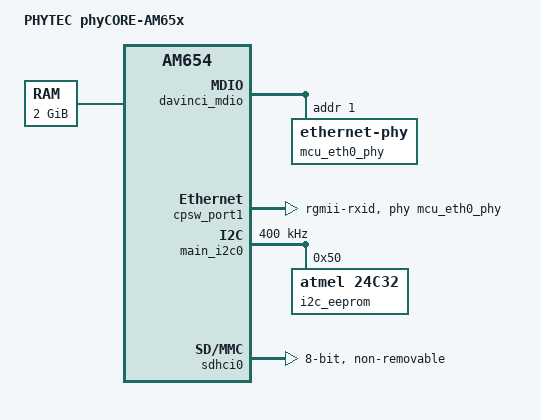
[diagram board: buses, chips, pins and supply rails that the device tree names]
// SPDX-License-Identifier: GPL-2.0
/*
 * Copyright (C) 2018-2020 PHYTEC America, LLC - https://www.phytec.com
 */

#include "../ti/k3-am654.dtsi"
#include <dt-bindings/net/ti-dp83867.h>

/ {
	model = "PHYTEC phyCORE-AM65x";
	compatible =  "phytec,am65xx-phycore-som", "ti,am654";

	memory@80000000 {
		device_type = "memory";
		/* 2G RAM */
		reg = <0x00000000 0x80000000	/* 64-bit start address */
		       0x00000000 0x80000000>;	/* 64-bit size */
	};

	reserved_memory: reserved-memory {
		#address-cells = <2>;
		#size-cells = <2>;
		ranges;

		secure_ddr: secure_ddr@9e800000 {
			reg = <0 0x9e800000 0 0x01800000>; /* for OP-TEE */
			alignment = <0x1000>;
			no-map;
		};

		mcu_r5fss0_core0_dma_memory_region: r5f-dma-memory@a0000000 {
			compatible = "shared-dma-pool";
			reg = <0 0xa0000000 0 0x100000>;
			no-map;
		};

		mcu_r5fss0_core0_memory_region: r5f-memory@a0100000 {
			compatible = "shared-dma-pool";
			reg = <0 0xa0100000 0 0xf00000>;
			no-map;
		};

		mcu_r5fss0_core1_dma_memory_region: r5f-dma-memory@a1000000 {
			compatible = "shared-dma-pool";
			reg = <0 0xa1000000 0 0x100000>;
			no-map;
		};

		mcu_r5fss0_core1_memory_region: r5f-memory@a1100000 {
			compatible = "shared-dma-pool";
			reg = <0 0xa1100000 0 0xf00000>;
			no-map;
		};

		rtos_ipc_memory_region: ipc-memories@a2000000 {
			reg = <0x00 0xa2000000 0x00 0x00200000>;
			alignment = <0x1000>;
			no-map;
		};
	};
};

&mailbox0_cluster0 {
	interrupts = <436>;

	mbox_mcu_r5fss0_core0: mbox-mcu-r5fss0-core0 {
		ti,mbox-tx = <1 0 0>;
		ti,mbox-rx = <0 0 0>;
	};
};

&mailbox0_cluster1 {
	interrupts = <432>;

	mbox_mcu_r5fss0_core1: mbox-mcu-r5fss0-core1 {
		ti,mbox-tx = <1 0 0>;
		ti,mbox-rx = <0 0 0>;
	};
};

&mailbox0_cluster2 {
	status = "disabled";
};

&mailbox0_cluster3 {
	status = "disabled";
};

&mailbox0_cluster4 {
	status = "disabled";
};

&mailbox0_cluster5 {
	status = "disabled";
};

&mailbox0_cluster6 {
	status = "disabled";
};

&mailbox0_cluster7 {
	status = "disabled";
};

&mailbox0_cluster8 {
	status = "disabled";
};

&mailbox0_cluster9 {
	status = "disabled";
};

&mailbox0_cluster10 {
	status = "disabled";
};

&mailbox0_cluster11 {
	status = "disabled";
};

&mcu_r5fss0_core0 {
	memory-region = <&mcu_r5fss0_core0_dma_memory_region>,
			<&mcu_r5fss0_core0_memory_region>;
	mboxes = <&mailbox0_cluster0 &mbox_mcu_r5fss0_core0>;
};

&mcu_r5fss0_core1 {
	memory-region = <&mcu_r5fss0_core1_dma_memory_region>,
			<&mcu_r5fss0_core1_memory_region>;
	mboxes = <&mailbox0_cluster1 &mbox_mcu_r5fss0_core1>;
};

&main_pmx0 {
	main_mmc0_pins_default: main_mmc0_pins_default {
		pinctrl-single,pins = <
			AM65X_IOPAD(0x0188, PIN_INPUT, 0)		/* (D25) MMC0_DAT7 */
			AM65X_IOPAD(0x018c, PIN_INPUT, 0)		/* (B26) MMC0_DAT6 */
			AM65X_IOPAD(0x0190, PIN_INPUT, 0)		/* (A24) MMC0_DAT5 */
			AM65X_IOPAD(0x0194, PIN_INPUT, 0)		/* (E24) MMC0_DAT4 */
			AM65X_IOPAD(0x0198, PIN_INPUT, 0)		/* (A25) MMC0_DAT3 */
			AM65X_IOPAD(0x019c, PIN_INPUT, 0)		/* (C26) MMC0_DAT2 */
			AM65X_IOPAD(0x01a0, PIN_INPUT, 0)		/* (E25) MMC0_DAT1 */
			AM65X_IOPAD(0x01a4, PIN_INPUT, 0)		/* (A26) MMC0_DAT0 */
			AM65X_IOPAD(0x01a8, PIN_INPUT_PULLDOWN, 0)	/* (B25) MMC0_CLK */
			AM65X_IOPAD(0x01ac, PIN_INPUT, 0)		/* (B27) MMC0_CMD */
			AM65X_IOPAD(0x01b0, PIN_INPUT, 0)		/* (C25) MMC0_DS */
		>;
	};

	main_mmc1_pins_default: main_mmc1_pins_default {
		pinctrl-single,pins = <
			AM65X_IOPAD(0x02c4, PIN_INPUT_PULLUP, 0)	/* (D27) MMC1_DAT3 */
			AM65X_IOPAD(0x02c8, PIN_INPUT_PULLUP, 0)	/* (D26) MMC1_DAT2 */
			AM65X_IOPAD(0x02cc, PIN_INPUT_PULLUP, 0)	/* (E27) MMC1_DAT1 */
			AM65X_IOPAD(0x02d0, PIN_INPUT_PULLUP, 0)	/* (D28) MMC1_DAT0 */
			AM65X_IOPAD(0x02d4, PIN_INPUT_PULLDOWN, 0)	/* (C27) MMC1_CLK */
			AM65X_IOPAD(0x02d8, PIN_INPUT_PULLUP, 0)	/* (C28) MMC1_CMD */
			AM65X_IOPAD(0x02dc, PIN_INPUT, 0)		/* (B24) MMC1_SDCD */
		>;
	};
};

&main_pmx1 {
	eeprom_wc_pin: eeprom_wc_pin {
		pinctrl-single,pins = <
			AM65X_IOPAD(0x0018, PIN_OUTPUT_PULLDOWN, 7)	/* (B22) TIMER_IO0.GPIO1_88 */
		>;
	};

	main_i2c0_pins_default: main_i2c0_pins_default {
		pinctrl-single,pins = <
			AM65X_IOPAD(0x0000, PIN_INPUT, 0)	/* (D20) I2C0_SCL */
			AM65X_IOPAD(0x0004, PIN_INPUT, 0)	/* (C21) I2C0_SDA */
		>;
	};
};

&wkup_pmx0 {
	mcu_cpsw_pins_default: mcu_cpsw_pins_default {
		pinctrl-single,pins = <
			AM65X_WKUP_IOPAD(0x0058, PIN_OUTPUT, 0)	/* (N4) MCU_RGMII1_TX_CTL */
			AM65X_WKUP_IOPAD(0x005c, PIN_INPUT, 0)	/* (N5) MCU_RGMII1_RX_CTL */
			AM65X_WKUP_IOPAD(0x0060, PIN_OUTPUT, 0)	/* (M2) MCU_RGMII1_TD3 */
			AM65X_WKUP_IOPAD(0x0064, PIN_OUTPUT, 0)	/* (M3) MCU_RGMII1_TD2 */
			AM65X_WKUP_IOPAD(0x0068, PIN_OUTPUT, 0)	/* (M4) MCU_RGMII1_TD1 */
			AM65X_WKUP_IOPAD(0x006c, PIN_OUTPUT, 0)	/* (M5) MCU_RGMII1_TD0 */
			AM65X_WKUP_IOPAD(0x0070, PIN_INPUT, 0)	/* (N1) MCU_RGMII1_TXC */
			AM65X_WKUP_IOPAD(0x0074, PIN_INPUT, 0)	/* (M1) MCU_RGMII1_RXC */
			AM65X_WKUP_IOPAD(0x0078, PIN_INPUT, 0)	/* (L2) MCU_RGMII1_RD3 */
			AM65X_WKUP_IOPAD(0x007c, PIN_INPUT, 0)	/* (L5) MCU_RGMII1_RD2 */
			AM65X_WKUP_IOPAD(0x0080, PIN_INPUT, 0)	/* (M6) MCU_RGMII1_RD1 */
			AM65X_WKUP_IOPAD(0x0084, PIN_INPUT, 0)	/* (L6) MCU_RGMII1_RD0 */
		>;
	};

	mcu_mdio_pins_default: mcu_mdio_pins_default {
		pinctrl-single,pins = <
			AM65X_WKUP_IOPAD(0x0088, PIN_INPUT, 0)	/* (L4) MCU_MDIO0_MDIO */
			AM65X_WKUP_IOPAD(0x008c, PIN_OUTPUT, 0)	/* (L1) MCU_MDIO0_MDC */
		>;
	};
};

&gpu {
	status = "disabled";
};

&mcu_cpsw {
	pinctrl-names = "default";
	pinctrl-0 = <&mcu_cpsw_pins_default &mcu_mdio_pins_default>;
};

&davinci_mdio {
	mcu_eth0_phy: ethernet-phy@1 {
		reg = <1>;
		ti,rx-internal-delay = <DP83867_RGMIIDCTL_2_00_NS>;
		ti,fifo-depth = <DP83867_PHYCR_FIFO_DEPTH_4_B_NIB>;
		ti,led-0-active-low;
		ti,led-2-active-low;
	};
};

&cpsw_port1 {
	phy-mode = "rgmii-rxid";
	phy-handle = <&mcu_eth0_phy>;
};

&main_i2c0 {
	status = "okay";
	pinctrl-names = "default";
	pinctrl-0 = <&main_i2c0_pins_default>;
	clock-frequency = <400000>;

	i2c_eeprom: eeprom@50 {
		status = "okay";
		compatible = "atmel,24c32";
		pinctrl-names = "default";
		pinctrl-0 = <&eeprom_wc_pin>;
		reg = <0x50>;
		pagesize = <32>;
	};
};

&sdhci0 {
	status = "okay";
	pinctrl-names = "default";
	pinctrl-0 = <&main_mmc0_pins_default>;
	bus-width = <8>;
	non-removable;
	ti,driver-strength-ohm = <50>;
	disable-wp;
};

&sdhci1 {
	status = "disabled";
	/* vmmc-supply = <&vdd_mmc1_sd>; */
	pinctrl-names = "default";
	pinctrl-0 = <&main_mmc1_pins_default>;
	ti,driver-strength-ohm = <50>;
	disable-wp;
};
